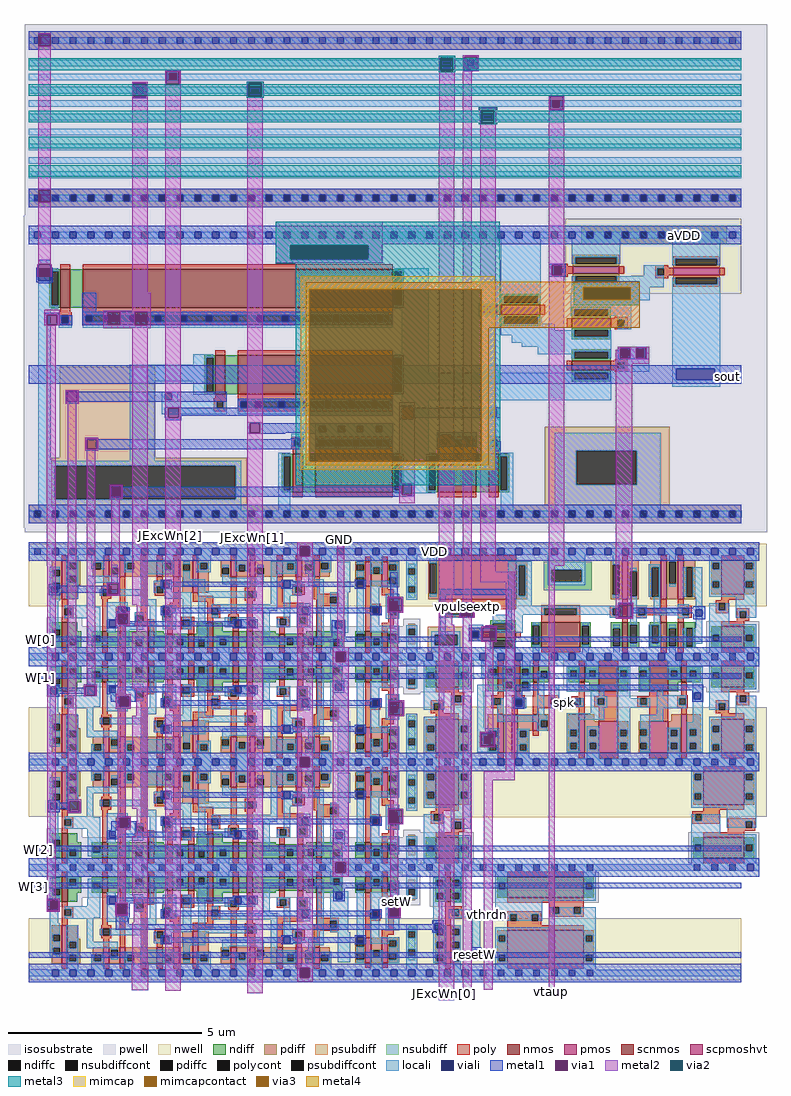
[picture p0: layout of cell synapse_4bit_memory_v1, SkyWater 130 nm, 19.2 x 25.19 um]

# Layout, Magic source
magic
tech sky130A
magscale 1 2
<< isosubstrate >>
rect 2852 9586 6685 12210
<< nwell >>
rect 2871 9205 3046 9526
rect 4834 9205 4912 9526
rect 6384 9205 6551 9526
rect 4927 8684 6222 8685
rect 2871 8117 2956 8683
rect 4927 8116 6551 8684
rect 2871 7274 2957 7595
rect 4888 7274 6551 7595
rect 5186 7273 6551 7274
<< psubdiff >>
rect 2871 12077 6551 12172
rect 2871 9670 3324 9699
<< locali >>
rect 2944 11136 6531 11137
rect 2944 11107 6551 11136
rect 2944 11103 6531 11107
rect 2922 10498 2985 10884
rect 2930 9697 2964 9774
rect 2871 9668 6552 9697
rect 2874 9663 6552 9668
rect 2873 9504 2882 9505
rect 2871 9471 2958 9504
rect 4660 9471 5193 9505
rect 6550 9471 6551 9505
rect 5144 9075 5217 9110
rect 5144 9062 5162 9075
rect 5196 9062 5217 9075
rect 5196 9058 5215 9062
rect 2871 8927 2965 8961
rect 6346 8927 6551 8961
rect 5581 8687 5714 8729
rect 2871 8383 5646 8417
rect 6338 8386 6551 8417
rect 6356 8383 6551 8386
rect 2871 7839 6551 7873
rect 5054 7636 5193 7637
rect 5054 7598 5202 7636
rect 5162 7438 5202 7598
rect 5158 7429 5211 7438
rect 5158 7395 5164 7429
rect 5198 7395 5211 7429
rect 5158 7388 5211 7395
rect 2871 7320 2970 7330
rect 2871 7296 2968 7320
rect 2871 7295 2967 7296
rect 5146 7295 6551 7329
<< viali >>
rect 5136 11992 5170 12026
rect 2922 10884 2985 10947
rect 2988 9273 3022 9307
rect 4740 9197 4774 9231
rect 5117 9160 5151 9194
rect 6315 9152 6349 9186
rect 4455 9090 4489 9124
rect 5162 9041 5196 9075
rect 2983 8751 3017 8785
rect 4454 8770 4488 8804
rect 5384 8689 5418 8723
rect 4740 8655 4774 8689
rect 6307 8724 6341 8758
rect 5222 8498 5256 8532
rect 2982 8157 3016 8191
rect 4740 8111 4774 8145
rect 4456 8005 4490 8039
rect 4456 7693 4490 7727
rect 2983 7644 3017 7678
rect 4737 7607 4771 7641
rect 4967 7533 5001 7567
rect 5164 7395 5198 7429
<< metal1 >>
rect 2902 12172 3296 12173
rect 2871 12157 6551 12172
rect 2871 12094 2922 12157
rect 2985 12094 6551 12157
rect 2871 12077 6551 12094
rect 5113 12040 5196 12048
rect 5113 11972 5119 12040
rect 5187 11972 5196 12040
rect 5113 11966 5196 11972
rect 2898 11354 3088 11360
rect 2898 11291 2922 11354
rect 2985 11291 3088 11354
rect 2898 11264 3088 11291
rect 6338 11084 6434 11142
rect 2922 10969 2985 10994
rect 2910 10884 2922 10953
rect 2985 10884 2997 10953
rect 2910 10878 2997 10884
rect 2922 10871 2985 10878
rect 6447 10355 6550 10446
rect 4451 9655 4515 9707
rect 2871 9502 2880 9536
rect 2871 9473 3000 9502
rect 2871 9440 2880 9473
rect 3274 9320 3340 9326
rect 2976 9310 3035 9319
rect 3274 9310 3282 9320
rect 2976 9307 3282 9310
rect 2976 9273 2988 9307
rect 3022 9274 3282 9307
rect 3022 9273 3035 9274
rect 2976 9261 3035 9273
rect 3274 9267 3282 9274
rect 3335 9312 3340 9320
rect 3335 9267 3342 9312
rect 3274 9259 3342 9267
rect 4738 9254 4777 9379
rect 4997 9263 5364 9291
rect 4723 9247 4804 9254
rect 4723 9179 4730 9247
rect 4798 9179 4804 9247
rect 3321 9165 3394 9178
rect 4723 9170 4804 9179
rect 3321 9112 3330 9165
rect 3383 9112 3394 9165
rect 3321 9103 3394 9112
rect 4436 9124 4505 9132
rect 4436 9090 4455 9124
rect 4489 9090 4505 9124
rect 4436 9048 4505 9090
rect 4997 9048 5025 9263
rect 5093 9218 5174 9225
rect 5093 9150 5099 9218
rect 5167 9150 5174 9218
rect 5093 9144 5174 9150
rect 5208 9094 5288 9100
rect 2871 9020 5025 9048
rect 5144 9075 5214 9094
rect 5144 9041 5162 9075
rect 5196 9041 5214 9075
rect 5144 9026 5214 9041
rect 5282 9026 5288 9094
rect 5336 9048 5364 9263
rect 5915 9216 5993 9222
rect 5915 9198 5920 9216
rect 5911 9169 5920 9198
rect 5915 9148 5920 9169
rect 5988 9198 5993 9216
rect 6303 9198 6365 9204
rect 5988 9186 6365 9198
rect 5988 9169 6315 9186
rect 5988 9148 5993 9169
rect 5915 9140 5993 9148
rect 6303 9152 6315 9169
rect 6349 9152 6365 9186
rect 6303 9138 6365 9152
rect 5144 9024 5288 9026
rect 5208 9020 5288 9024
rect 5333 9020 6551 9048
rect 2871 8896 2965 8992
rect 6360 8896 6551 8992
rect 2871 8830 6551 8858
rect 4442 8804 4501 8830
rect 2969 8785 3030 8796
rect 3156 8795 3223 8801
rect 3156 8785 3163 8795
rect 2969 8751 2983 8785
rect 3017 8754 3163 8785
rect 3017 8751 3030 8754
rect 2969 8738 3030 8751
rect 3156 8742 3163 8754
rect 3216 8742 3223 8795
rect 3156 8739 3223 8742
rect 3294 8739 3427 8785
rect 4442 8770 4454 8804
rect 4488 8770 4501 8804
rect 4442 8758 4501 8770
rect 5386 8770 6354 8798
rect 3294 8712 3338 8739
rect 3322 8686 3338 8712
rect 3391 8712 3427 8739
rect 5386 8735 5420 8770
rect 6296 8758 6353 8770
rect 5372 8723 5430 8735
rect 3391 8686 3398 8712
rect 3322 8675 3398 8686
rect 4727 8711 4809 8718
rect 4727 8643 4734 8711
rect 4802 8643 4809 8711
rect 5372 8689 5384 8723
rect 5418 8689 5430 8723
rect 6296 8724 6307 8758
rect 6341 8724 6353 8758
rect 6296 8712 6353 8724
rect 5372 8676 5430 8689
rect 4727 8636 4809 8643
rect 5199 8550 5280 8554
rect 5199 8482 5205 8550
rect 5273 8482 5280 8550
rect 5199 8476 5280 8482
rect 2871 8352 2968 8448
rect 4882 8352 5176 8448
rect 6353 8352 6551 8448
rect 2972 8191 3031 8203
rect 2972 8157 2982 8191
rect 3016 8189 3031 8191
rect 3072 8198 3142 8208
rect 3072 8189 3082 8198
rect 3016 8158 3082 8189
rect 3016 8157 3031 8158
rect 2972 8140 3031 8157
rect 3072 8145 3082 8158
rect 3135 8145 3142 8198
rect 4728 8159 4784 8161
rect 3072 8137 3142 8145
rect 4726 8153 4805 8159
rect 3328 8113 3399 8120
rect 3328 8095 3339 8113
rect 3299 8060 3339 8095
rect 3392 8095 3399 8113
rect 3392 8060 3427 8095
rect 4726 8085 4731 8153
rect 4799 8085 4805 8153
rect 4726 8078 4805 8085
rect 3299 8021 3427 8060
rect 4444 8039 4502 8051
rect 4444 8005 4456 8039
rect 4490 8005 4502 8039
rect 4444 7969 4502 8005
rect 2871 7941 6551 7969
rect 2871 7882 6551 7904
rect 2871 7830 4455 7882
rect 4507 7830 6551 7882
rect 2871 7808 6551 7830
rect 2871 7749 6551 7777
rect 4444 7727 4502 7749
rect 2964 7687 3032 7695
rect 2964 7634 2971 7687
rect 3024 7634 3032 7687
rect 4444 7693 4456 7727
rect 4490 7693 4502 7727
rect 4444 7681 4502 7693
rect 2964 7627 3032 7634
rect 3322 7668 3387 7674
rect 3322 7615 3326 7668
rect 3379 7615 3387 7668
rect 4727 7657 4791 7662
rect 3322 7562 3387 7615
rect 4724 7655 4791 7657
rect 4724 7602 4732 7655
rect 4785 7602 4791 7655
rect 4724 7596 4791 7602
rect 4724 7593 4787 7596
rect 4954 7567 5013 7583
rect 4954 7562 4967 7567
rect 3322 7534 4967 7562
rect 4954 7533 4967 7534
rect 5001 7533 5013 7567
rect 4954 7519 5013 7533
rect 5156 7437 5208 7443
rect 5155 7429 5208 7437
rect 5155 7418 5164 7429
rect 2871 7395 5164 7418
rect 5198 7418 5208 7429
rect 5198 7395 6551 7418
rect 2871 7390 6551 7395
rect 5155 7388 5208 7390
rect 2871 7264 2970 7360
rect 5171 7264 6551 7360
<< via1 >>
rect 2922 12094 2985 12157
rect 5119 12026 5187 12040
rect 5119 11992 5136 12026
rect 5136 11992 5170 12026
rect 5170 11992 5187 12026
rect 5119 11972 5187 11992
rect 2922 11291 2985 11354
rect 2922 10947 2985 10969
rect 2922 10906 2985 10947
rect 4271 9462 4323 9514
rect 3282 9267 3335 9320
rect 4730 9231 4798 9247
rect 4730 9197 4740 9231
rect 4740 9197 4774 9231
rect 4774 9197 4798 9231
rect 4730 9179 4798 9197
rect 3330 9112 3383 9165
rect 5099 9194 5167 9218
rect 5099 9160 5117 9194
rect 5117 9160 5151 9194
rect 5151 9160 5167 9194
rect 5099 9150 5167 9160
rect 5214 9026 5282 9094
rect 5920 9148 5988 9216
rect 4456 8918 4508 8970
rect 3163 8742 3216 8795
rect 3338 8686 3391 8739
rect 4734 8689 4802 8711
rect 4734 8655 4740 8689
rect 4740 8655 4774 8689
rect 4774 8655 4802 8689
rect 4734 8643 4802 8655
rect 5205 8532 5273 8550
rect 5205 8498 5222 8532
rect 5222 8498 5256 8532
rect 5256 8498 5273 8532
rect 5205 8482 5273 8498
rect 4270 8374 4322 8426
rect 3082 8145 3135 8198
rect 3339 8060 3392 8113
rect 4731 8145 4799 8153
rect 4731 8111 4740 8145
rect 4740 8111 4774 8145
rect 4774 8111 4799 8145
rect 4731 8085 4799 8111
rect 4455 7830 4507 7882
rect 2971 7678 3024 7687
rect 2971 7644 2983 7678
rect 2983 7644 3017 7678
rect 3017 7644 3024 7678
rect 2971 7634 3024 7644
rect 3326 7615 3379 7668
rect 4732 7641 4785 7655
rect 4732 7607 4737 7641
rect 4737 7607 4771 7641
rect 4771 7607 4785 7641
rect 4732 7602 4785 7607
rect 4271 7286 4323 7338
<< metal2 >>
rect 2922 12157 2985 12163
rect 2922 11354 2985 12094
rect 2922 10969 2985 11291
rect 5113 12040 5196 12048
rect 5113 11972 5119 12040
rect 5187 11972 5196 12040
rect 5113 11966 5196 11972
rect 2916 10906 2922 10969
rect 2985 10906 2991 10969
rect 3072 10030 3116 10313
rect 3072 9539 3115 10030
rect 2968 7695 3012 9419
rect 3072 8208 3116 9539
rect 3172 8801 3216 9573
rect 3297 9326 3341 9567
rect 3274 9320 3341 9326
rect 3274 9267 3282 9320
rect 3335 9312 3341 9320
rect 3335 9267 3342 9312
rect 3274 9259 3342 9267
rect 3406 9211 3486 9627
rect 3331 9178 3372 9204
rect 3321 9165 3394 9178
rect 3321 9112 3330 9165
rect 3383 9112 3394 9165
rect 3321 9103 3394 9112
rect 3156 8795 3223 8801
rect 3156 8742 3163 8795
rect 3216 8742 3223 8795
rect 3331 8749 3372 9103
rect 3429 9070 3486 9211
rect 3406 8779 3486 9070
rect 3156 8739 3223 8742
rect 3322 8739 3398 8749
rect 3322 8686 3338 8739
rect 3391 8686 3398 8739
rect 3322 8675 3398 8686
rect 3072 8198 3143 8208
rect 3072 8145 3082 8198
rect 3135 8145 3143 8198
rect 3072 8137 3143 8145
rect 3331 8120 3372 8675
rect 3426 8638 3486 8779
rect 3406 8158 3486 8638
rect 3328 8113 3399 8120
rect 3328 8060 3339 8113
rect 3392 8060 3399 8113
rect 3328 8052 3399 8060
rect 3331 7712 3372 8052
rect 3429 8017 3486 8158
rect 2964 7687 3032 7695
rect 2964 7634 2971 7687
rect 3024 7634 3032 7687
rect 3328 7676 3373 7712
rect 3406 7707 3486 8017
rect 2964 7627 3032 7634
rect 3319 7668 3384 7676
rect 3319 7615 3326 7668
rect 3379 7615 3384 7668
rect 3319 7608 3384 7615
rect 3414 7571 3486 7707
rect 3406 7358 3486 7571
rect 3403 7222 3490 7358
rect 3576 7221 3656 9598
rect 4000 7207 4080 9601
rect 4257 9514 4338 9535
rect 4257 9462 4271 9514
rect 4323 9462 4338 9514
rect 4257 8426 4338 9462
rect 4465 8992 4500 9575
rect 4989 9263 5069 9601
rect 4723 9247 4804 9254
rect 4723 9179 4730 9247
rect 4798 9179 4804 9247
rect 4723 9170 4804 9179
rect 4257 8374 4270 8426
rect 4322 8374 4338 8426
rect 4257 7338 4338 8374
rect 4442 8970 4523 8992
rect 4442 8918 4456 8970
rect 4508 8918 4523 8970
rect 4442 7882 4523 8918
rect 4739 8718 4780 9170
rect 4989 9109 5059 9263
rect 5113 9225 5158 11966
rect 5202 9382 5282 9419
rect 5202 9329 5381 9382
rect 5093 9218 5174 9225
rect 5093 9150 5099 9218
rect 5167 9150 5174 9218
rect 5093 9144 5174 9150
rect 4727 8711 4809 8718
rect 4727 8643 4734 8711
rect 4802 8643 4809 8711
rect 4727 8636 4809 8643
rect 4739 8159 4780 8636
rect 4726 8153 4805 8159
rect 4726 8085 4731 8153
rect 4799 8085 4805 8153
rect 4726 8078 4805 8085
rect 4442 7830 4455 7882
rect 4507 7830 4523 7882
rect 4442 7808 4523 7830
rect 4739 7662 4780 8078
rect 4727 7655 4791 7662
rect 4727 7602 4732 7655
rect 4785 7602 4791 7655
rect 4727 7596 4791 7602
rect 4257 7286 4271 7338
rect 4323 7286 4338 7338
rect 4257 7265 4338 7286
rect 4989 7172 5069 9109
rect 5113 7213 5158 9144
rect 5227 9100 5269 9107
rect 5208 9094 5288 9100
rect 5208 9026 5214 9094
rect 5282 9026 5288 9094
rect 5208 9020 5288 9026
rect 5227 8557 5269 9020
rect 5199 8550 5279 8557
rect 5199 8482 5205 8550
rect 5273 8482 5279 8550
rect 5199 8476 5279 8482
rect 5334 8352 5380 9329
rect 5220 8306 5380 8352
rect 5220 7225 5266 8306
rect 5556 7195 5588 9427
rect 5903 9382 5986 9419
rect 5903 9222 5985 9382
rect 5903 9216 5993 9222
rect 5903 9148 5920 9216
rect 5988 9148 5993 9216
rect 5903 9140 5993 9148
use dpi_syn_exc_4bit_fc_v2  dpi_syn_exc_4bit_fc_v2_0
transform 1 0 -9133 0 1 19113
box 12004 -9700 15684 -6940
use sky130_fd_sc_hd__clkdlybuf4s50_1  sky130_fd_sc_hd__clkdlybuf4s50_1_0 $PDKPATH/libs.ref/sky130_fd_sc_hd/mag
transform 1 0 5631 0 -1 8944
box -38 -48 774 592
use sky130_fd_sc_hd__decap_3  sky130_fd_sc_hd__decap_3_0 $PDKPATH/libs.ref/sky130_fd_sc_hd/mag
transform 1 0 4895 0 1 7856
box -38 -48 314 592
use sky130_fd_sc_hd__decap_3  sky130_fd_sc_hd__decap_3_1
transform 1 0 4895 0 -1 8944
box -38 -48 314 592
use sky130_fd_sc_hd__decap_3  sky130_fd_sc_hd__decap_3_2
transform 1 0 6367 0 1 8944
box -38 -48 314 592
use sky130_fd_sc_hd__decap_3  sky130_fd_sc_hd__decap_3_3
transform 1 0 6367 0 -1 8944
box -38 -48 314 592
use sky130_fd_sc_hd__decap_4  sky130_fd_sc_hd__decap_4_0 $PDKPATH/libs.ref/sky130_fd_sc_hd/mag
transform 1 0 6275 0 1 7856
box -38 -48 406 592
use sky130_fd_sc_hd__decap_6  sky130_fd_sc_hd__decap_6_0 $PDKPATH/libs.ref/sky130_fd_sc_hd/mag
transform 1 0 5263 0 -1 7856
box -38 -48 590 592
use sky130_fd_sc_hd__dfrtp_1  sky130_fd_sc_hd__dfrtp_1_20 $PDKPATH/libs.ref/sky130_fd_sc_hd/mag
transform -1 0 4803 0 1 8944
box -38 -48 1878 592
use sky130_fd_sc_hd__dfrtp_1  sky130_fd_sc_hd__dfrtp_1_21
transform -1 0 4803 0 -1 8944
box -38 -48 1878 592
use sky130_fd_sc_hd__dfrtp_1  sky130_fd_sc_hd__dfrtp_1_22
transform -1 0 4803 0 1 7856
box -38 -48 1878 592
use sky130_fd_sc_hd__dfrtp_1  sky130_fd_sc_hd__dfrtp_1_23
transform -1 0 4803 0 -1 7856
box -38 -48 1878 592
use sky130_fd_sc_hd__fill_1  sky130_fd_sc_hd__fill_1_0 $PDKPATH/libs.ref/sky130_fd_sc_hd/mag
transform 1 0 5171 0 -1 7856
box -38 -48 130 592
use sky130_fd_sc_hd__inv_1  sky130_fd_sc_hd__inv_1_5 $PDKPATH/libs.ref/sky130_fd_sc_hd/mag
transform -1 0 5171 0 -1 7856
box -38 -48 314 592
use sky130_fd_sc_hd__nor2b_1  sky130_fd_sc_hd__nor2b_1_0 $PDKPATH/libs.ref/sky130_fd_sc_hd/mag
transform -1 0 5631 0 -1 8944
box -38 -48 498 592
use sky130_fd_sc_hd__tapvpwrvgnd_1  sky130_fd_sc_hd__tapvpwrvgnd_1_0 $PDKPATH/libs.ref/sky130_fd_sc_hd/mag
transform 1 0 4803 0 1 8944
box -38 -48 130 592
use sky130_fd_sc_hd__tapvpwrvgnd_1  sky130_fd_sc_hd__tapvpwrvgnd_1_24
transform 1 0 4803 0 -1 8944
box -38 -48 130 592
use sky130_fd_sc_hd__tapvpwrvgnd_1  sky130_fd_sc_hd__tapvpwrvgnd_1_27
transform 1 0 4803 0 -1 7856
box -38 -48 130 592
use sky130_fd_sc_hd__tapvpwrvgnd_1  sky130_fd_sc_hd__tapvpwrvgnd_1_28
transform 1 0 4803 0 1 7856
box -38 -48 130 592
use spike_extender  spike_extender_0
transform 1 0 4895 0 1 8944
box -38 -48 1510 592
<< labels >>
flabel locali 5624 8698 5648 8722 1 FreeSans 320 0 0 0 spk
port 1 n
flabel viali 5173 7403 5176 7407 1 FreeSans 320 0 0 0 resetW
port 4 n
flabel metal2 5013 7201 5021 7214 1 FreeSans 320 0 0 0 JExcWn[0]
port 16 n
flabel metal2 5229 7609 5254 7620 1 FreeSans 320 0 0 0 vthrdn
port 19 n
flabel metal1 6470 10374 6492 10406 1 FreeSans 320 0 0 0 sout
port 21 n
flabel metal1 2921 7947 2927 7951 1 FreeSans 320 0 0 0 W[2]
port 8 n
flabel metal2 4023 9552 4032 9567 1 FreeSans 320 0 0 0 JExcWn[1]
port 26 n
flabel metal2 3593 9569 3614 9575 1 FreeSans 320 0 0 0 JExcWn[2]
port 25 n
flabel metal2 3428 9563 3441 9575 1 FreeSans 320 0 0 0 JExcWn[3]
port 24 n
flabel metal1 2929 9030 2940 9037 1 FreeSans 320 0 0 0 W[0]
port 22 n
flabel metal1 2893 7751 2897 7763 1 FreeSans 320 0 0 0 W[3]
port 23 n
flabel metal1 2930 8835 2935 8841 1 FreeSans 320 0 0 0 W[1]
port 7 n
flabel metal2 5568 7213 5572 7223 1 FreeSans 320 0 0 0 vtaup
port 28 n
flabel metal2 4767 7674 4773 7690 1 FreeSans 320 0 0 0 setW
port 29 n
flabel locali 6256 11111 6259 11124 1 FreeSans 320 0 0 0 aVDD
port 35 n
flabel via1 5131 9197 5139 9207 1 FreeSans 320 0 0 0 vpulseextp
port 36 n
flabel locali 4964 9482 4968 9495 1 FreeSans 320 0 0 0 VDD
port 37 n
flabel metal2 4474 9550 4483 9552 1 FreeSans 320 0 0 0 GND
port 38 n
<< end >>

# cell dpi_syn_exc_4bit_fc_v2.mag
magic
tech sky130A
magscale 1 2
<< nwell >>
rect 15611 -8295 15684 -7909
<< psubdiff >>
rect 12004 -7784 15684 -7753
rect 12004 -7818 12033 -7784
rect 12067 -7818 12125 -7784
rect 12159 -7818 12217 -7784
rect 12251 -7818 12309 -7784
rect 12343 -7818 12401 -7784
rect 12435 -7818 12493 -7784
rect 12527 -7818 12585 -7784
rect 12619 -7818 12677 -7784
rect 12711 -7818 12769 -7784
rect 12803 -7818 12861 -7784
rect 12895 -7818 12953 -7784
rect 12987 -7818 13045 -7784
rect 13079 -7818 13137 -7784
rect 13171 -7818 13229 -7784
rect 13263 -7818 13321 -7784
rect 13355 -7818 13413 -7784
rect 13447 -7818 13505 -7784
rect 13539 -7818 13597 -7784
rect 13631 -7818 13689 -7784
rect 13723 -7818 13781 -7784
rect 13815 -7818 13873 -7784
rect 13907 -7818 13965 -7784
rect 13999 -7818 14057 -7784
rect 14091 -7818 14149 -7784
rect 14183 -7818 14241 -7784
rect 14275 -7818 14333 -7784
rect 14367 -7818 14425 -7784
rect 14459 -7818 14517 -7784
rect 14551 -7818 14609 -7784
rect 14643 -7818 14701 -7784
rect 14735 -7818 14793 -7784
rect 14827 -7818 14885 -7784
rect 14919 -7818 14977 -7784
rect 15011 -7818 15069 -7784
rect 15103 -7818 15161 -7784
rect 15195 -7818 15253 -7784
rect 15287 -7818 15345 -7784
rect 15379 -7818 15437 -7784
rect 15471 -7818 15529 -7784
rect 15563 -7818 15621 -7784
rect 15655 -7818 15684 -7784
rect 12004 -7849 15684 -7818
rect 12004 -9481 12006 -9385
rect 15611 -9416 15684 -9385
rect 15611 -9450 15621 -9416
rect 15655 -9450 15684 -9416
rect 15611 -9481 15684 -9450
<< psubdiffcont >>
rect 12033 -7818 12067 -7784
rect 12125 -7818 12159 -7784
rect 12217 -7818 12251 -7784
rect 12309 -7818 12343 -7784
rect 12401 -7818 12435 -7784
rect 12493 -7818 12527 -7784
rect 12585 -7818 12619 -7784
rect 12677 -7818 12711 -7784
rect 12769 -7818 12803 -7784
rect 12861 -7818 12895 -7784
rect 12953 -7818 12987 -7784
rect 13045 -7818 13079 -7784
rect 13137 -7818 13171 -7784
rect 13229 -7818 13263 -7784
rect 13321 -7818 13355 -7784
rect 13413 -7818 13447 -7784
rect 13505 -7818 13539 -7784
rect 13597 -7818 13631 -7784
rect 13689 -7818 13723 -7784
rect 13781 -7818 13815 -7784
rect 13873 -7818 13907 -7784
rect 13965 -7818 13999 -7784
rect 14057 -7818 14091 -7784
rect 14149 -7818 14183 -7784
rect 14241 -7818 14275 -7784
rect 14333 -7818 14367 -7784
rect 14425 -7818 14459 -7784
rect 14517 -7818 14551 -7784
rect 14609 -7818 14643 -7784
rect 14701 -7818 14735 -7784
rect 14793 -7818 14827 -7784
rect 14885 -7818 14919 -7784
rect 14977 -7818 15011 -7784
rect 15069 -7818 15103 -7784
rect 15161 -7818 15195 -7784
rect 15253 -7818 15287 -7784
rect 15345 -7818 15379 -7784
rect 15437 -7818 15471 -7784
rect 15529 -7818 15563 -7784
rect 15621 -7818 15655 -7784
rect 15621 -9450 15655 -9416
<< locali >>
rect 12004 -7005 12033 -6971
rect 12067 -7005 12125 -6971
rect 12159 -7005 12217 -6971
rect 12251 -7005 12309 -6971
rect 12343 -7005 12401 -6971
rect 12435 -7005 12493 -6971
rect 12527 -7005 12585 -6971
rect 12619 -7005 12677 -6971
rect 12711 -7005 12769 -6971
rect 12803 -7005 12861 -6971
rect 12895 -7005 12953 -6971
rect 12987 -7005 13045 -6971
rect 13079 -7005 13137 -6971
rect 13171 -7005 13229 -6971
rect 13263 -7005 13321 -6971
rect 13355 -7005 13413 -6971
rect 13447 -7005 13505 -6971
rect 13539 -7005 13597 -6971
rect 13631 -7005 13689 -6971
rect 13723 -7005 13781 -6971
rect 13815 -7005 13873 -6971
rect 13907 -7005 13965 -6971
rect 13999 -7005 14057 -6971
rect 14091 -7005 14149 -6971
rect 14183 -7005 14241 -6971
rect 14275 -7005 14333 -6971
rect 14367 -7005 14425 -6971
rect 14459 -7005 14517 -6971
rect 14551 -7005 14609 -6971
rect 14643 -7005 14701 -6971
rect 14735 -7005 14793 -6971
rect 14827 -7005 14885 -6971
rect 14919 -7005 14977 -6971
rect 15011 -7005 15069 -6971
rect 15103 -7005 15161 -6971
rect 15195 -7005 15253 -6971
rect 15287 -7005 15345 -6971
rect 15379 -7005 15437 -6971
rect 15471 -7005 15529 -6971
rect 15563 -7005 15621 -6971
rect 15655 -7005 15684 -6971
rect 12004 -7122 15684 -7088
rect 12004 -7192 12731 -7159
rect 12765 -7192 15684 -7159
rect 12004 -7193 15684 -7192
rect 12004 -7262 12561 -7228
rect 12595 -7262 15684 -7228
rect 14361 -7263 14395 -7262
rect 12004 -7298 15684 -7297
rect 12004 -7331 14710 -7298
rect 14744 -7331 15684 -7298
rect 12004 -7400 15684 -7366
rect 12004 -7477 15684 -7443
rect 12004 -7554 15684 -7520
rect 12004 -7624 15684 -7590
rect 12004 -7698 15684 -7664
rect 12004 -7818 12033 -7784
rect 12067 -7818 12125 -7784
rect 12159 -7818 12217 -7784
rect 12251 -7818 12309 -7784
rect 12343 -7818 12401 -7784
rect 12435 -7818 12493 -7784
rect 12527 -7818 12585 -7784
rect 12619 -7818 12677 -7784
rect 12711 -7818 12769 -7784
rect 12803 -7818 12861 -7784
rect 12895 -7818 12953 -7784
rect 12987 -7818 13045 -7784
rect 13079 -7818 13137 -7784
rect 13171 -7818 13229 -7784
rect 13263 -7818 13321 -7784
rect 13355 -7818 13413 -7784
rect 13447 -7818 13505 -7784
rect 13539 -7818 13597 -7784
rect 13631 -7818 13689 -7784
rect 13723 -7818 13781 -7784
rect 13815 -7818 13873 -7784
rect 13907 -7818 13965 -7784
rect 13999 -7818 14057 -7784
rect 14091 -7818 14149 -7784
rect 14183 -7818 14241 -7784
rect 14275 -7818 14333 -7784
rect 14367 -7818 14425 -7784
rect 14459 -7818 14517 -7784
rect 14551 -7818 14609 -7784
rect 14643 -7818 14701 -7784
rect 14735 -7818 14793 -7784
rect 14827 -7818 14885 -7784
rect 14919 -7818 14977 -7784
rect 15011 -7818 15069 -7784
rect 15103 -7818 15161 -7784
rect 15195 -7818 15253 -7784
rect 15287 -7818 15345 -7784
rect 15379 -7818 15437 -7784
rect 15471 -7818 15529 -7784
rect 15563 -7818 15621 -7784
rect 15655 -7818 15684 -7784
rect 12004 -8010 12008 -7976
rect 15611 -8010 15621 -7976
rect 15655 -8010 15684 -7976
rect 12004 -9450 12006 -9416
rect 15611 -9450 15621 -9416
rect 15655 -9450 15684 -9416
rect 12004 -9642 12033 -9608
rect 12067 -9642 12125 -9608
rect 12159 -9642 12217 -9608
rect 12251 -9642 12309 -9608
rect 12343 -9642 12401 -9608
rect 12435 -9642 12493 -9608
rect 12527 -9642 12585 -9608
rect 12619 -9642 12677 -9608
rect 12711 -9642 12769 -9608
rect 12803 -9642 12861 -9608
rect 12895 -9642 12953 -9608
rect 12987 -9642 13045 -9608
rect 13079 -9642 13137 -9608
rect 13171 -9642 13229 -9608
rect 13263 -9642 13321 -9608
rect 13355 -9642 13413 -9608
rect 13447 -9642 13505 -9608
rect 13539 -9642 13597 -9608
rect 13631 -9642 13689 -9608
rect 13723 -9642 13781 -9608
rect 13815 -9642 13873 -9608
rect 13907 -9642 13965 -9608
rect 13999 -9642 14057 -9608
rect 14091 -9642 14149 -9608
rect 14183 -9642 14241 -9608
rect 14275 -9642 14333 -9608
rect 14367 -9642 14425 -9608
rect 14459 -9642 14517 -9608
rect 14551 -9642 14609 -9608
rect 14643 -9642 14701 -9608
rect 14735 -9642 14793 -9608
rect 14827 -9642 14885 -9608
rect 14919 -9642 14977 -9608
rect 15011 -9642 15069 -9608
rect 15103 -9642 15161 -9608
rect 15195 -9642 15253 -9608
rect 15287 -9642 15345 -9608
rect 15379 -9642 15437 -9608
rect 15471 -9642 15529 -9608
rect 15563 -9642 15621 -9608
rect 15655 -9642 15684 -9608
<< viali >>
rect 12033 -7005 12067 -6971
rect 12125 -7005 12159 -6971
rect 12217 -7005 12251 -6971
rect 12309 -7005 12343 -6971
rect 12401 -7005 12435 -6971
rect 12493 -7005 12527 -6971
rect 12585 -7005 12619 -6971
rect 12677 -7005 12711 -6971
rect 12769 -7005 12803 -6971
rect 12861 -7005 12895 -6971
rect 12953 -7005 12987 -6971
rect 13045 -7005 13079 -6971
rect 13137 -7005 13171 -6971
rect 13229 -7005 13263 -6971
rect 13321 -7005 13355 -6971
rect 13413 -7005 13447 -6971
rect 13505 -7005 13539 -6971
rect 13597 -7005 13631 -6971
rect 13689 -7005 13723 -6971
rect 13781 -7005 13815 -6971
rect 13873 -7005 13907 -6971
rect 13965 -7005 13999 -6971
rect 14057 -7005 14091 -6971
rect 14149 -7005 14183 -6971
rect 14241 -7005 14275 -6971
rect 14333 -7005 14367 -6971
rect 14425 -7005 14459 -6971
rect 14517 -7005 14551 -6971
rect 14609 -7005 14643 -6971
rect 14701 -7005 14735 -6971
rect 14793 -7005 14827 -6971
rect 14885 -7005 14919 -6971
rect 14977 -7005 15011 -6971
rect 15069 -7005 15103 -6971
rect 15161 -7005 15195 -6971
rect 15253 -7005 15287 -6971
rect 15345 -7005 15379 -6971
rect 15437 -7005 15471 -6971
rect 15529 -7005 15563 -6971
rect 15621 -7005 15655 -6971
rect 12731 -7192 12765 -7158
rect 12561 -7262 12595 -7228
rect 14710 -7332 14744 -7298
rect 12033 -7818 12067 -7784
rect 12125 -7818 12159 -7784
rect 12217 -7818 12251 -7784
rect 12309 -7818 12343 -7784
rect 12401 -7818 12435 -7784
rect 12493 -7818 12527 -7784
rect 12585 -7818 12619 -7784
rect 12677 -7818 12711 -7784
rect 12769 -7818 12803 -7784
rect 12861 -7818 12895 -7784
rect 12953 -7818 12987 -7784
rect 13045 -7818 13079 -7784
rect 13137 -7818 13171 -7784
rect 13229 -7818 13263 -7784
rect 13321 -7818 13355 -7784
rect 13413 -7818 13447 -7784
rect 13505 -7818 13539 -7784
rect 13597 -7818 13631 -7784
rect 13689 -7818 13723 -7784
rect 13781 -7818 13815 -7784
rect 13873 -7818 13907 -7784
rect 13965 -7818 13999 -7784
rect 14057 -7818 14091 -7784
rect 14149 -7818 14183 -7784
rect 14241 -7818 14275 -7784
rect 14333 -7818 14367 -7784
rect 14425 -7818 14459 -7784
rect 14517 -7818 14551 -7784
rect 14609 -7818 14643 -7784
rect 14701 -7818 14735 -7784
rect 14793 -7818 14827 -7784
rect 14885 -7818 14919 -7784
rect 14977 -7818 15011 -7784
rect 15069 -7818 15103 -7784
rect 15161 -7818 15195 -7784
rect 15253 -7818 15287 -7784
rect 15345 -7818 15379 -7784
rect 15437 -7818 15471 -7784
rect 15529 -7818 15563 -7784
rect 15621 -7818 15655 -7784
rect 15621 -8010 15655 -7976
rect 15621 -9450 15655 -9416
rect 12033 -9642 12067 -9608
rect 12125 -9642 12159 -9608
rect 12217 -9642 12251 -9608
rect 12309 -9642 12343 -9608
rect 12401 -9642 12435 -9608
rect 12493 -9642 12527 -9608
rect 12585 -9642 12619 -9608
rect 12677 -9642 12711 -9608
rect 12769 -9642 12803 -9608
rect 12861 -9642 12895 -9608
rect 12953 -9642 12987 -9608
rect 13045 -9642 13079 -9608
rect 13137 -9642 13171 -9608
rect 13229 -9642 13263 -9608
rect 13321 -9642 13355 -9608
rect 13413 -9642 13447 -9608
rect 13505 -9642 13539 -9608
rect 13597 -9642 13631 -9608
rect 13689 -9642 13723 -9608
rect 13781 -9642 13815 -9608
rect 13873 -9642 13907 -9608
rect 13965 -9642 13999 -9608
rect 14057 -9642 14091 -9608
rect 14149 -9642 14183 -9608
rect 14241 -9642 14275 -9608
rect 14333 -9642 14367 -9608
rect 14425 -9642 14459 -9608
rect 14517 -9642 14551 -9608
rect 14609 -9642 14643 -9608
rect 14701 -9642 14735 -9608
rect 14793 -9642 14827 -9608
rect 14885 -9642 14919 -9608
rect 14977 -9642 15011 -9608
rect 15069 -9642 15103 -9608
rect 15161 -9642 15195 -9608
rect 15253 -9642 15287 -9608
rect 15345 -9642 15379 -9608
rect 15437 -9642 15471 -9608
rect 15529 -9642 15563 -9608
rect 15621 -9642 15655 -9608
<< metal1 >>
rect 12004 -6971 15684 -6940
rect 12004 -7005 12033 -6971
rect 12067 -7005 12125 -6971
rect 12159 -7005 12217 -6971
rect 12251 -7005 12309 -6971
rect 12343 -7005 12401 -6971
rect 12435 -7005 12493 -6971
rect 12527 -7005 12585 -6971
rect 12619 -7005 12677 -6971
rect 12711 -7005 12769 -6971
rect 12803 -7005 12861 -6971
rect 12895 -7005 12953 -6971
rect 12987 -7005 13045 -6971
rect 13079 -7005 13137 -6971
rect 13171 -7005 13229 -6971
rect 13263 -7005 13321 -6971
rect 13355 -7005 13413 -6971
rect 13447 -7005 13505 -6971
rect 13539 -7005 13597 -6971
rect 13631 -7005 13689 -6971
rect 13723 -7005 13781 -6971
rect 13815 -7005 13873 -6971
rect 13907 -7005 13965 -6971
rect 13999 -7005 14057 -6971
rect 14091 -7005 14149 -6971
rect 14183 -7005 14241 -6971
rect 14275 -7005 14333 -6971
rect 14367 -7005 14425 -6971
rect 14459 -7005 14517 -6971
rect 14551 -7005 14609 -6971
rect 14643 -7005 14701 -6971
rect 14735 -7005 14793 -6971
rect 14827 -7005 14885 -6971
rect 14919 -7005 14977 -6971
rect 15011 -7005 15069 -6971
rect 15103 -7005 15161 -6971
rect 15195 -7005 15253 -6971
rect 15287 -7005 15345 -6971
rect 15379 -7005 15437 -6971
rect 15471 -7005 15529 -6971
rect 15563 -7005 15621 -6971
rect 15655 -7005 15684 -6971
rect 12004 -7036 15684 -7005
rect 12709 -7146 12789 -7139
rect 12538 -7210 12619 -7202
rect 12538 -7278 12544 -7210
rect 12612 -7278 12619 -7210
rect 12709 -7214 12715 -7146
rect 12783 -7214 12789 -7146
rect 12709 -7219 12789 -7214
rect 12538 -7285 12619 -7278
rect 14688 -7277 14769 -7271
rect 14688 -7345 14695 -7277
rect 14763 -7345 14769 -7277
rect 14688 -7346 14769 -7345
rect 12004 -7784 15684 -7753
rect 12004 -7818 12033 -7784
rect 12067 -7818 12125 -7784
rect 12159 -7818 12217 -7784
rect 12251 -7818 12309 -7784
rect 12343 -7818 12401 -7784
rect 12435 -7818 12493 -7784
rect 12527 -7818 12585 -7784
rect 12619 -7818 12677 -7784
rect 12711 -7818 12769 -7784
rect 12803 -7818 12861 -7784
rect 12895 -7818 12953 -7784
rect 12987 -7818 13045 -7784
rect 13079 -7818 13137 -7784
rect 13171 -7818 13229 -7784
rect 13263 -7818 13321 -7784
rect 13355 -7818 13413 -7784
rect 13447 -7818 13505 -7784
rect 13539 -7818 13597 -7784
rect 13631 -7818 13689 -7784
rect 13723 -7818 13781 -7784
rect 13815 -7818 13873 -7784
rect 13907 -7818 13965 -7784
rect 13999 -7818 14057 -7784
rect 14091 -7818 14149 -7784
rect 14183 -7818 14241 -7784
rect 14275 -7818 14333 -7784
rect 14367 -7818 14425 -7784
rect 14459 -7818 14517 -7784
rect 14551 -7818 14609 -7784
rect 14643 -7818 14701 -7784
rect 14735 -7818 14793 -7784
rect 14827 -7818 14885 -7784
rect 14919 -7818 14977 -7784
rect 15011 -7818 15069 -7784
rect 15103 -7818 15161 -7784
rect 15195 -7818 15253 -7784
rect 15287 -7818 15345 -7784
rect 15379 -7818 15437 -7784
rect 15471 -7818 15529 -7784
rect 15563 -7818 15621 -7784
rect 15655 -7818 15684 -7784
rect 12004 -7849 15684 -7818
rect 12004 -8041 12008 -7945
rect 15611 -7976 15684 -7946
rect 15611 -8010 15621 -7976
rect 15655 -8010 15684 -7976
rect 15611 -8040 15684 -8010
rect 12004 -8760 12006 -8665
rect 15611 -8760 15684 -8665
rect 12004 -9481 12006 -9385
rect 15611 -9416 15684 -9385
rect 15611 -9450 15621 -9416
rect 15655 -9450 15684 -9416
rect 15611 -9481 15684 -9450
rect 12004 -9608 15684 -9577
rect 12004 -9642 12033 -9608
rect 12067 -9642 12125 -9608
rect 12159 -9642 12217 -9608
rect 12251 -9642 12309 -9608
rect 12343 -9642 12401 -9608
rect 12435 -9642 12493 -9608
rect 12527 -9642 12585 -9608
rect 12619 -9642 12677 -9608
rect 12711 -9642 12769 -9608
rect 12803 -9642 12861 -9608
rect 12895 -9642 12953 -9608
rect 12987 -9642 13045 -9608
rect 13079 -9642 13137 -9608
rect 13171 -9642 13229 -9608
rect 13263 -9642 13321 -9608
rect 13355 -9642 13413 -9608
rect 13447 -9642 13505 -9608
rect 13539 -9642 13597 -9608
rect 13631 -9642 13689 -9608
rect 13723 -9642 13781 -9608
rect 13815 -9642 13873 -9608
rect 13907 -9642 13965 -9608
rect 13999 -9642 14057 -9608
rect 14091 -9642 14149 -9608
rect 14183 -9642 14241 -9608
rect 14275 -9642 14333 -9608
rect 14367 -9642 14425 -9608
rect 14459 -9642 14517 -9608
rect 14551 -9642 14609 -9608
rect 14643 -9642 14701 -9608
rect 14735 -9642 14793 -9608
rect 14827 -9642 14885 -9608
rect 14919 -9642 14977 -9608
rect 15011 -9642 15069 -9608
rect 15103 -9642 15161 -9608
rect 15195 -9642 15253 -9608
rect 15287 -9642 15345 -9608
rect 15379 -9642 15437 -9608
rect 15471 -9642 15529 -9608
rect 15563 -9642 15621 -9608
rect 15655 -9642 15684 -9608
rect 12004 -9673 15684 -9642
<< via1 >>
rect 12544 -7228 12612 -7210
rect 12544 -7262 12561 -7228
rect 12561 -7262 12595 -7228
rect 12595 -7262 12612 -7228
rect 12544 -7278 12612 -7262
rect 12715 -7158 12783 -7146
rect 12715 -7192 12731 -7158
rect 12731 -7192 12765 -7158
rect 12765 -7192 12783 -7158
rect 12715 -7214 12783 -7192
rect 14695 -7298 14763 -7277
rect 14695 -7332 14710 -7298
rect 14710 -7332 14744 -7298
rect 14744 -7332 14763 -7298
rect 14695 -7345 14763 -7332
<< metal2 >>
rect 14122 -7076 14206 -7066
rect 12709 -7146 12789 -7139
rect 12538 -7210 12619 -7202
rect 12538 -7278 12544 -7210
rect 12612 -7278 12619 -7210
rect 12538 -7285 12619 -7278
rect 12539 -7909 12619 -7285
rect 12709 -7214 12715 -7146
rect 12783 -7214 12789 -7146
rect 14122 -7144 14129 -7076
rect 14197 -7144 14206 -7076
rect 14122 -7152 14206 -7144
rect 12709 -7909 12789 -7214
rect 13129 -7210 13217 -7201
rect 13129 -7278 13139 -7210
rect 13207 -7278 13217 -7210
rect 13129 -7283 13217 -7278
rect 13133 -7909 13213 -7283
rect 14123 -7551 14203 -7152
rect 14688 -7277 14769 -7271
rect 14332 -7347 14418 -7337
rect 14688 -7345 14695 -7277
rect 14763 -7345 14769 -7277
rect 14688 -7346 14769 -7345
rect 14332 -7413 14341 -7347
rect 14122 -7584 14203 -7551
rect 14335 -7415 14341 -7413
rect 14409 -7413 14418 -7347
rect 14409 -7415 14415 -7413
rect 14122 -7909 14202 -7584
rect 14335 -7909 14415 -7415
rect 14689 -7909 14769 -7346
rect 12099 -9700 12143 -9481
rect 12205 -9614 12249 -9481
rect 12305 -9614 12349 -9481
rect 12430 -9614 12474 -9481
rect 12539 -9700 12619 -9481
rect 12709 -9700 12789 -9481
rect 13133 -9700 13213 -9481
rect 14122 -9700 14202 -9481
rect 14335 -9700 14415 -9481
rect 14689 -9700 14769 -9481
rect 15035 -9700 15119 -9481
<< via2 >>
rect 14129 -7144 14197 -7076
rect 13139 -7278 13207 -7210
rect 14341 -7415 14409 -7347
<< metal3 >>
rect 14122 -7076 14206 -7066
rect 14122 -7081 14129 -7076
rect 12004 -7141 14129 -7081
rect 14122 -7144 14129 -7141
rect 14197 -7081 14206 -7076
rect 14197 -7141 15684 -7081
rect 14197 -7144 14206 -7141
rect 14122 -7152 14206 -7144
rect 13129 -7210 13217 -7201
rect 13129 -7214 13139 -7210
rect 12004 -7274 13139 -7214
rect 13129 -7278 13139 -7274
rect 13207 -7214 13217 -7210
rect 13207 -7274 15684 -7214
rect 13207 -7278 13217 -7274
rect 13129 -7283 13217 -7278
rect 14329 -7347 14423 -7334
rect 14329 -7350 14341 -7347
rect 12004 -7410 14341 -7350
rect 14329 -7415 14341 -7410
rect 14409 -7350 14423 -7347
rect 14409 -7410 15684 -7350
rect 14409 -7415 14423 -7410
rect 14329 -7421 14423 -7415
rect 12004 -7545 15684 -7485
rect 12004 -7691 15684 -7631
use dpi_syn_exc_4bit_fc_v2_norail  dpi_syn_exc_4bit_fc_v2_norail_0
transform 1 0 0 0 1 0
box 12004 -9680 15684 -7896
<< labels >>
flabel metal2 12727 -7646 12737 -7642 1 FreeSans 320 0 0 0 JExcWn[2]
port 20 n
flabel metal2 13156 -7636 13166 -7630 1 FreeSans 320 0 0 0 JExcWn[1]
port 22 n
flabel metal2 14148 -7664 14149 -7652 1 FreeSans 320 0 0 0 JExcWn[0]
port 23 n
flabel metal2 14350 -7585 14365 -7575 1 FreeSans 320 0 0 0 vthn
port 25 n
flabel metal2 14714 -7568 14728 -7562 1 FreeSans 320 0 0 0 vtaup
port 26 n
flabel metal2 12323 -9520 12332 -9508 1 FreeSans 320 0 0 0 weight[1]
port 33 n
flabel metal2 12560 -7680 12566 -7663 1 FreeSans 320 0 0 0 JExcWn[3]
port 18 n
flabel metal2 12445 -9530 12456 -9519 1 FreeSans 320 0 0 0 weight[0]
port 12 n
flabel metal2 12219 -9537 12230 -9526 1 FreeSans 320 0 0 0 weight[2]
port 14 n
flabel metal2 12114 -9556 12125 -9545 1 FreeSans 320 0 0 0 weight[3]
port 15 n
flabel metal2 15065 -9554 15076 -9543 1 FreeSans 320 0 0 0 spk
port 6 n
flabel metal1 15671 -9430 15682 -9419 1 FreeSans 320 0 0 0 GND
port 1 n
flabel metal1 15655 -8721 15666 -8710 1 FreeSans 320 0 0 0 sout
port 8 n
flabel metal1 15671 -8001 15682 -7990 1 FreeSans 320 0 0 0 aVDD
port 16 n
<< end >>

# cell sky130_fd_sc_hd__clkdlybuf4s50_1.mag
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
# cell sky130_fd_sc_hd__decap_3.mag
magic
tech sky130A
magscale 1 2
<< nwell >>
rect -38 261 314 582
<< pwell >>
rect 1 21 275 183
rect 29 -17 63 21
<< scnmos >>
rect 79 47 197 157
<< scpmoshvt >>
rect 79 323 197 497
<< ndiff >>
rect 27 114 79 157
rect 27 80 35 114
rect 69 80 79 114
rect 27 47 79 80
rect 197 114 249 157
rect 197 80 207 114
rect 241 80 249 114
rect 197 47 249 80
<< pdiff >>
rect 27 485 79 497
rect 27 451 35 485
rect 69 451 79 485
rect 27 390 79 451
rect 27 356 35 390
rect 69 356 79 390
rect 27 323 79 356
rect 197 485 249 497
rect 197 451 207 485
rect 241 451 249 485
rect 197 390 249 451
rect 197 356 207 390
rect 241 356 249 390
rect 197 323 249 356
<< ndiffc >>
rect 35 80 69 114
rect 207 80 241 114
<< pdiffc >>
rect 35 451 69 485
rect 35 356 69 390
rect 207 451 241 485
rect 207 356 241 390
<< poly >>
rect 79 497 197 523
rect 79 293 197 323
rect 79 291 117 293
rect 51 275 117 291
rect 51 241 67 275
rect 101 241 117 275
rect 51 225 117 241
rect 159 235 225 251
rect 159 201 175 235
rect 209 201 225 235
rect 159 185 225 201
rect 159 183 197 185
rect 79 157 197 183
rect 79 21 197 47
<< polycont >>
rect 67 241 101 275
rect 175 201 209 235
<< locali >>
rect 0 527 29 561
rect 63 527 121 561
rect 155 527 213 561
rect 247 527 276 561
rect 17 485 259 527
rect 17 451 35 485
rect 69 451 207 485
rect 241 451 259 485
rect 17 390 259 451
rect 17 356 35 390
rect 69 356 207 390
rect 241 356 259 390
rect 17 309 259 356
rect 17 241 67 275
rect 101 241 121 275
rect 17 167 121 241
rect 155 235 259 309
rect 155 201 175 235
rect 209 201 259 235
rect 17 114 259 167
rect 17 80 35 114
rect 69 80 207 114
rect 241 80 259 114
rect 17 17 259 80
rect 0 -17 29 17
rect 63 -17 121 17
rect 155 -17 213 17
rect 247 -17 276 17
<< viali >>
rect 29 527 63 561
rect 121 527 155 561
rect 213 527 247 561
rect 29 -17 63 17
rect 121 -17 155 17
rect 213 -17 247 17
<< metal1 >>
rect 0 561 276 592
rect 0 527 29 561
rect 63 527 121 561
rect 155 527 213 561
rect 247 527 276 561
rect 0 496 276 527
rect 0 17 276 48
rect 0 -17 29 17
rect 63 -17 121 17
rect 155 -17 213 17
rect 247 -17 276 17
rect 0 -48 276 -17
<< labels >>
flabel metal1 s 29 527 63 561 0 FreeSans 200 0 0 0 VPWR
port 2 nsew
flabel metal1 s 29 -17 63 17 0 FreeSans 200 0 0 0 VGND
port 3 nsew
flabel nwell s 29 527 63 561 0 FreeSans 200 0 0 0 VPB
port 4 nsew
flabel pwell s 29 -17 63 17 0 FreeSans 200 0 0 0 VNB
port 5 nsew
rlabel comment s 0 0 0 0 4 decap_3
<< properties >>
string FIXED_BBOX 0 0 276 544
string path 0.000 0.000 6.900 0.000 
<< end >>

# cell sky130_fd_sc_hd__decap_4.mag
magic
tech sky130A
magscale 1 2
<< nwell >>
rect -38 261 406 582
<< pwell >>
rect 1 21 367 183
rect 29 -17 63 21
<< scnmos >>
rect 79 47 289 157
<< scpmoshvt >>
rect 79 323 289 497
<< ndiff >>
rect 27 119 79 157
rect 27 85 35 119
rect 69 85 79 119
rect 27 47 79 85
rect 289 119 341 157
rect 289 85 299 119
rect 333 85 341 119
rect 289 47 341 85
<< pdiff >>
rect 27 485 79 497
rect 27 451 35 485
rect 69 451 79 485
rect 27 383 79 451
rect 27 349 35 383
rect 69 349 79 383
rect 27 323 79 349
rect 289 485 341 497
rect 289 451 299 485
rect 333 451 341 485
rect 289 383 341 451
rect 289 349 299 383
rect 333 349 341 383
rect 289 323 341 349
<< ndiffc >>
rect 35 85 69 119
rect 299 85 333 119
<< pdiffc >>
rect 35 451 69 485
rect 35 349 69 383
rect 299 451 333 485
rect 299 349 333 383
<< poly >>
rect 79 497 289 523
rect 79 297 289 323
rect 79 291 163 297
rect 21 275 163 291
rect 21 241 37 275
rect 71 241 163 275
rect 21 225 163 241
rect 205 239 347 255
rect 205 205 297 239
rect 331 205 347 239
rect 205 189 347 205
rect 205 183 289 189
rect 79 157 289 183
rect 79 21 289 47
<< polycont >>
rect 37 241 71 275
rect 297 205 331 239
<< locali >>
rect 0 527 29 561
rect 63 527 121 561
rect 155 527 213 561
rect 247 527 305 561
rect 339 527 368 561
rect 17 485 351 527
rect 17 451 35 485
rect 69 451 299 485
rect 333 451 351 485
rect 17 383 351 451
rect 17 349 35 383
rect 69 349 299 383
rect 333 349 351 383
rect 17 309 351 349
rect 17 241 37 275
rect 71 241 167 275
rect 17 171 167 241
rect 201 239 351 309
rect 201 205 297 239
rect 331 205 351 239
rect 17 119 351 171
rect 17 85 35 119
rect 69 85 299 119
rect 333 85 351 119
rect 17 17 351 85
rect 0 -17 29 17
rect 63 -17 121 17
rect 155 -17 213 17
rect 247 -17 305 17
rect 339 -17 368 17
<< viali >>
rect 29 527 63 561
rect 121 527 155 561
rect 213 527 247 561
rect 305 527 339 561
rect 29 -17 63 17
rect 121 -17 155 17
rect 213 -17 247 17
rect 305 -17 339 17
<< metal1 >>
rect 0 561 368 592
rect 0 527 29 561
rect 63 527 121 561
rect 155 527 213 561
rect 247 527 305 561
rect 339 527 368 561
rect 0 496 368 527
rect 0 17 368 48
rect 0 -17 29 17
rect 63 -17 121 17
rect 155 -17 213 17
rect 247 -17 305 17
rect 339 -17 368 17
rect 0 -48 368 -17
<< labels >>
flabel metal1 s 29 -17 63 17 0 FreeSans 200 0 0 0 VGND
port 2 nsew
flabel metal1 s 29 527 63 561 0 FreeSans 200 0 0 0 VPWR
port 3 nsew
flabel nwell s 29 527 63 561 0 FreeSans 200 0 0 0 VPB
port 4 nsew
flabel pwell s 29 -17 63 17 0 FreeSans 200 0 0 0 VNB
port 5 nsew
rlabel comment s 0 0 0 0 4 decap_4
<< properties >>
string FIXED_BBOX 0 0 368 544
string path 0.000 0.000 1.840 0.000 
<< end >>

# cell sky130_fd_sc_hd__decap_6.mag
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
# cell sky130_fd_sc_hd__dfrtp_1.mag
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
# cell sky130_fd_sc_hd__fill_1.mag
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
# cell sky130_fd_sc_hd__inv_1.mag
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
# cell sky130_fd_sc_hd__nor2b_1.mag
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
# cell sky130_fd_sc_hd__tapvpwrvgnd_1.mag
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
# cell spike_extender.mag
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
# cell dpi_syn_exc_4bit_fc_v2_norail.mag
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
